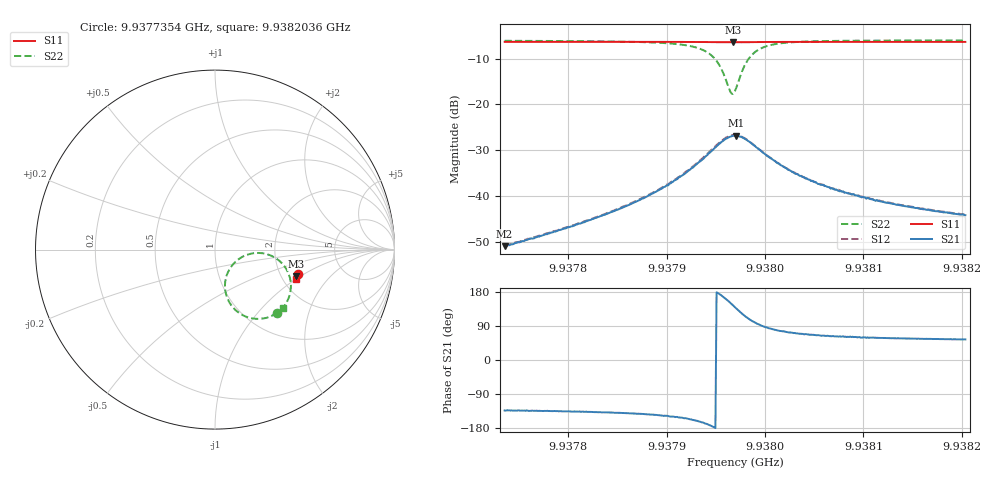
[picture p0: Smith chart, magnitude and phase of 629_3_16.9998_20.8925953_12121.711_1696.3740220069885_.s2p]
#  HZ  S  RI  R  50.00
! Rohde & Schwarz Vector Network Analyzer
! Rohde-Schwarz,ZNB20-2Port,1311601062101988,3.16
! Created: UTC 3/20/2024, 11:20:16 PM
! freq[Hz]  re:S11  im:S11  re:S21  im:S21  re:S12  im:S12  re:S22  im:S22
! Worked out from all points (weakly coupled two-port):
!   401 points, 9.9377354 GHz to 9.9382036 GHz, reference 50 ohm
!   highest |S21| = -26.85 dB at 9.9379707 GHz (marker M1); lowest = -51.0 dB at 9.9377354 GHz (marker M2)
!   lowest |S11| = -6.5 dB at 9.9379672 GHz (marker M3), VSWR 2.81, Z = 120 - j46.2 ohm
!   |S11| at or under -10 dB: nowhere
!   |S22| runs from -17.8 to -6.1 dB; largest |S21 - S12| = 0.0021
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9.93773543e9  0.4618 -0.1369  -0.00194 -0.00206  -0.00198 -0.00207  0.3478 -0.3505
9.93781384e9  0.4596 -0.1423  -0.00367 -0.00351  -0.00378 -0.00348  0.3279 -0.363
9.93785715e9  0.4586 -0.1452  -0.00582 -0.00488  -0.00603 -0.00487  0.3065 -0.3732
9.93789225e9  0.4572 -0.1478  -0.00955 -0.00655  -0.00982 -0.00652  0.2728 -0.383
9.93792502e9  0.4554 -0.1502  -0.0183 -0.00789  -0.0188 -0.00769  0.1993 -0.3816
9.93794258e9  0.4536 -0.1514  -0.0285 -0.00476  -0.0294 -0.00422  0.1199 -0.3418
9.93795311e9  0.4522 -0.1513  -0.0366 0.00333  -0.0375 0.00435  0.0667 -0.2651
9.93795779e9  0.4517 -0.1509  -0.039 0.00943  -0.0399 0.0111  0.0557 -0.2092
9.93796364e9  0.4512 -0.1501  -0.0393 0.0195  -0.0397 0.0216  0.0715 -0.1277
9.93796715e9  0.4512 -0.1496  -0.0371 0.0259  -0.0369 0.0279  0.1008 -0.0813
9.93796949e9  0.4515 -0.1491  -0.0343 0.0297  -0.034 0.0316  0.128 -0.0563
9.93797066e9  0.4517 -0.149  -0.033 0.0313  -0.0323 0.0331  0.1432 -0.0456
9.93797652e9  0.4522 -0.1486  -0.0235 0.0368  -0.0225 0.0382  0.2267 -0.0191
9.9379812e9  0.453 -0.1486  -0.016 0.0377  -0.0147 0.0388  0.2882 -0.0252
9.93798705e9  0.454 -0.1488  -0.00798 0.0359  -0.00688 0.0365  0.3456 -0.0527
9.9379929e9  0.4545 -0.1495  -0.00273 0.0328  -0.00163 0.0331  0.3822 -0.0868
9.93801162e9  0.4552 -0.1517  0.00441 0.0229  0.00506 0.0226  0.4213 -0.1766
9.93802918e9  0.4552 -0.1535  0.00585 0.017  0.00617 0.017  0.4217 -0.2244
9.9380479e9  0.4545 -0.1552  0.00583 0.0133  0.00623 0.0132  0.4154 -0.2548
9.93807599e9  0.4538 -0.1573  0.00513 0.00999  0.00553 0.0101  0.4056 -0.2813
9.93812631e9  0.4525 -0.1609  0.00445 0.00705  0.00465 0.00703  0.392 -0.3053
9.93820355e9  0.4504 -0.1661  0.00359 0.005  0.00374 0.00502  0.3784 -0.3236
